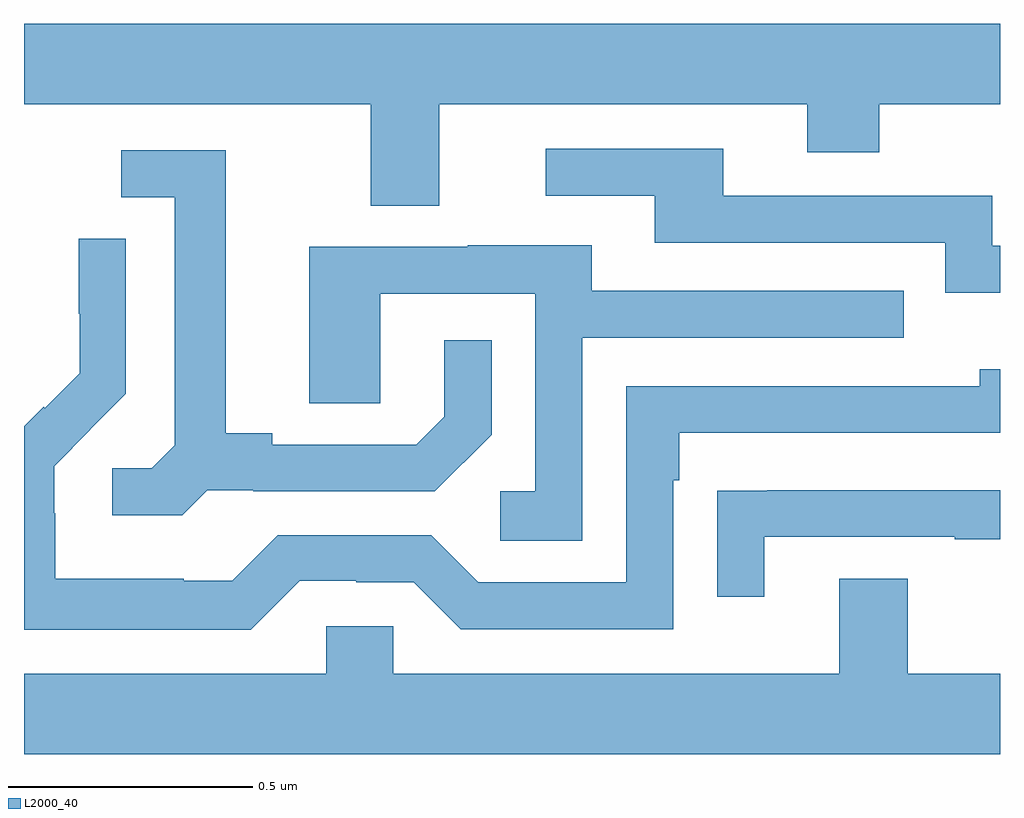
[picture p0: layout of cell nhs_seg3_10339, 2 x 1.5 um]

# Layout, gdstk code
import gdstk
lib = gdstk.Library(unit=1e-6, precision=1e-09)
def P(c, l, *ps):  # polygons
    for p in ps: c.add(gdstk.Polygon(p, *l))
L2000_40 = (2000, 40)

nhs_seg3_10339 = lib.new_cell('nhs_seg3_10339')
P(nhs_seg3_10339, L2000_40, [(239.851,742.208),(240.605,742.208),(240.605,742.109),(240.753,742.109),(240.753,742.208),(241,742.208),(241,742.372),(239,742.372),(239,742.208),(239.711,742.208),(239.711,742),(239.851,742)],
  [(241,741.918),(240.984,741.918),(240.984,742.02),(240.433,742.02),(240.433,742.116),(240.069,742.116),(240.069,742.02),(240.293,742.02),(240.293,741.924),(240.888,741.924),(240.888,741.821),(241,741.821)],
  [(239.376,741.417),(239.47,741.417),(239.47,741.414),(239.842,741.414),(239.958,741.53),(239.958,741.724),(239.861,741.724),(239.861,741.567),(239.804,741.51),(239.509,741.51),(239.509,741.533),(239.413,741.533),(239.413,742.113),(239.199,742.113),(239.199,742.017),(239.309,742.017),(239.309,741.509),(239.262,741.462),(239.181,741.462),(239.181,741.365),(239.324,741.365)],
  [(239.565,741.231),(239.681,741.231),(239.681,741.228),(239.799,741.228),(239.895,741.132),(240.33,741.132),(240.33,741.437),(240.343,741.437),(240.343,741.534),(241,741.534),(241,741.664),(240.959,741.664),(240.959,741.63),(240.234,741.63),(240.234,741.228),(239.931,741.228),(239.835,741.324),(239.52,741.324),(239.427,741.231),(239.327,741.231),(239.327,741.235),(239.064,741.235),(239.064,741.369),(239.062,741.369),(239.062,741.466),(239.136,741.54),(239.135,741.541),(239.208,741.614),(239.208,741.932),(239.112,741.932),(239.112,741.778),(239.114,741.778),(239.114,741.656),(239.043,741.585),(239.04,741.588),(239,741.548),(239,741.131),(239.465,741.131)],
  [(240.144,741.729),(240.803,741.729),(240.803,741.825),(240.163,741.825),(240.163,741.919),(239.909,741.919),(239.909,741.915),(239.585,741.915),(239.585,741.595),(239.73,741.595),(239.73,741.819),(240.048,741.819),(240.048,741.414),(239.976,741.414),(239.976,741.313),(240.144,741.313)],
  [(240.517,741.321),(240.907,741.321),(240.907,741.316),(241,741.316),(241,741.417),(240.523,741.417),(240.523,741.416),(240.421,741.416),(240.421,741.198),(240.517,741.198)],
  [(241,741.04),(240.811,741.04),(240.811,741.235),(240.671,741.235),(240.671,741.04),(239.757,741.04),(239.757,741.138),(239.619,741.138),(239.619,741.04),(239,741.04),(239,740.876),(241,740.876)])

lib.write_gds('nhs_seg3_10339.gds')
